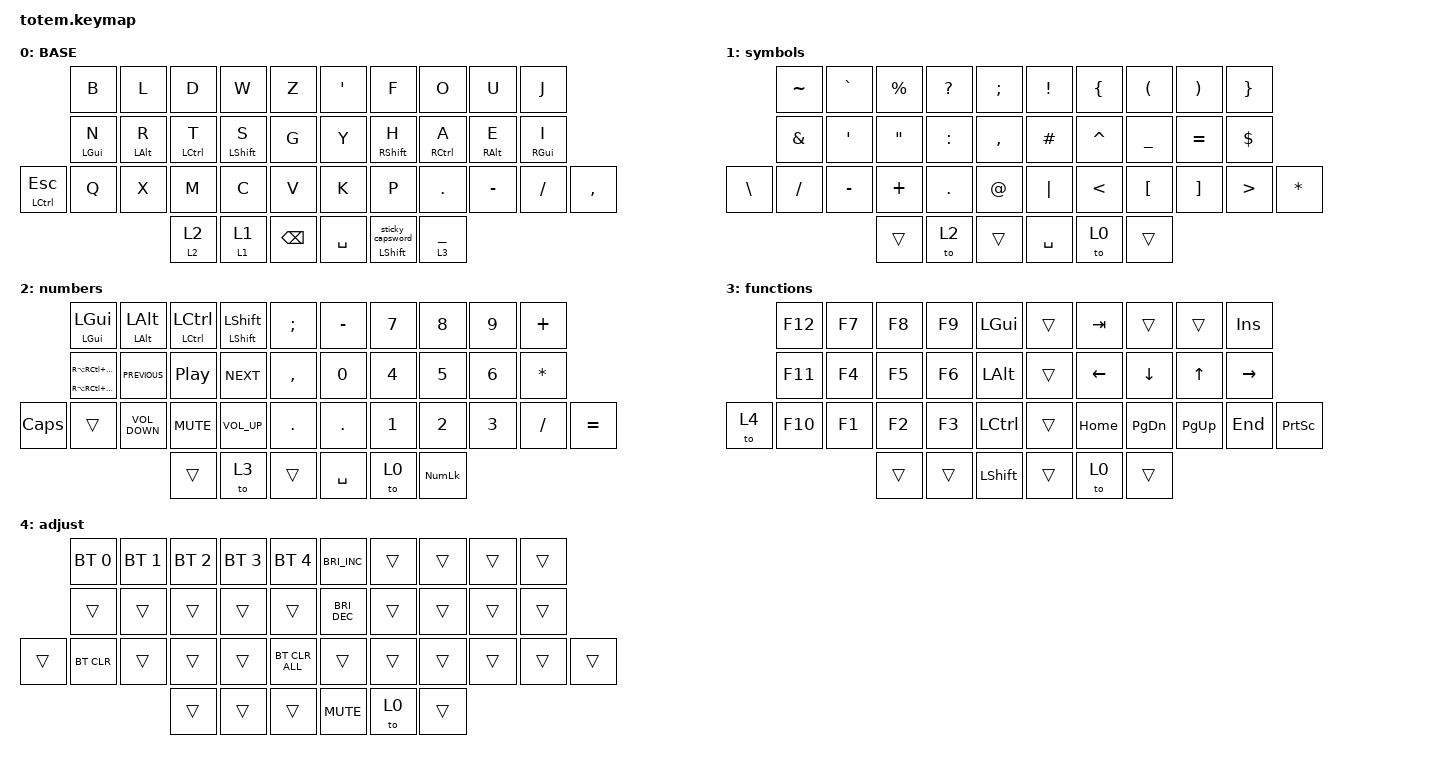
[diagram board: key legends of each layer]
//
//                                                        ▀▀▀▀▀     ▀▀▀▀▀          ▀▀█▀▀
//                                                        ▄▀▀▀▄  ▄  ▄▀▀▀▄  ▄  ▄▀▀▀▄  █  ▄▀▀▀▄
//                                                        █   █  █  █   █  █  █   █  █  █   █
//                                                         ▀▀▀   █   ▀▀▀   █   ▀▀▀   ▀   ▀▀▀
//                                                               █      ▄▄▄█▄▄▄    █   █  
//                                                               ▀      █  █  █     █▄█
//                                                             ▀▀▀▀▀    █  █  █      ▀
//                                                                      ▀  ▀  ▀
//
// ▄▄▄▄▄▄▄▄▄▄▄▄▄▄▄▄▄▄▄▄▄▄▄▄▄▄▄▄▄▄▄▄▄▄▄▄▄▄▄▄▄▄▄▄▄▄▄▄▄▄▄▄▄▄▄▄▄▄▄▄▄▄▄▄▄▄▄▄▄▄▄▄▄▄▄▄▄▄▄▄▄▄▄▄▄▄▄▄▄▄▄▄▄▄▄▄▄▄▄▄▄▄▄▄▄▄▄▄▄▄▄▄▄▄▄▄▄▄▄▄▄▄▄▄▄▄▄▄▄▄▄▄▄▄▄▄▄▄▄▄▄▄▄▄▄▄▄▄▄

#include <behaviors.dtsi>
#include <dt-bindings/zmk/bt.h>
#include <dt-bindings/zmk/keys.h>

#define BASE 0
#define NAV  1
#define SYM  2
#define ADJ  3
#define TVP1 4
#define TVP2 5

/ {
    combos {
        compatible = "zmk,combos";

        combo_enter {
            bindings = <&kp ENTER>;
            key-positions = <27 28>;
        };

        combo_delete {
            bindings = <&kp DELETE>;
            key-positions = <24 23>;
        };

        combo_tab {
            bindings = <&kp TAB>;
            key-positions = <1 0>;
        };

        combo_tilde {
            bindings = <&kp TILDE>;
            key-positions = <0 20>;
            layers = <0>;
        };

        combo_minus {
            bindings = <&kp MINUS>;
            key-positions = <30 29>;
            layers = <0>;
        };

        combo_semi {
            bindings = <&kp SEMICOLON>;
            key-positions = <9 8>;
            layers = <0>;
        };

        combo_bslsh {
            bindings = <&kp BACKSLASH>;
            key-positions = <31 9>;
            layers = <0>;
        };
    };

    behaviors {
        layer_hold: layer_hold {
            compatible = "zmk,behavior-hold-tap";
            label = "LAYER_HOLD";
            bindings = <&mo>, <&kp>;

            #binding-cells = <2>;
            tapping-term-ms = <100>;
            hold-while-undecided;
            retro-tap;
        };

        sticky_capsword: sticky_capsword {
            compatible = "zmk,behavior-tap-dance";
            label = "STICKY_CAPSWORD";
            #binding-cells = <0>;
            bindings = <&modified_sticky_shift LEFT_SHIFT>, <&caps_word>;

            tapping-term-ms = <200>;
        };

        super_shift: super_shift {
            compatible = "zmk,behavior-hold-tap";
            label = "SUPER_SHIFT";
            bindings = <&kp>, <&sticky_capsword>;

            #binding-cells = <2>;
            tapping-term-ms = <500>;
            quick-tap-ms = <200>;
            flavor = "tap-preferred";
            hold-while-undecided-linger;
            retro-tap;
        };

        super_symbols: super_symbols {
            compatible = "zmk,behavior-hold-tap";
            label = "SUPER_SYMBOLS";
            bindings = <&mo>, <&to>;

            #binding-cells = <2>;
            tapping-term-ms = <100>;
            hold-while-undecided;
            retro-tap;
        };

        super_numbers: super_numbers {
            compatible = "zmk,behavior-hold-tap";
            label = "SUPER_NUMBERS";
            bindings = <&mo>, <&sl>;

            #binding-cells = <2>;
            tapping-term-ms = <100>;
            hold-while-undecided;
            retro-tap;
        };

        homerow: homerow {
            compatible = "zmk,behavior-hold-tap";
            label = "HOMEROW";
            bindings = <&kp>, <&kp>;

            #binding-cells = <2>;
            tapping-term-ms = <200>;
            quick-tap-ms = <0>;
            flavor = "tap-preferred";
        };

        modified_sticky_shift: modified_sticky_shift {
            compatible = "zmk,behavior-sticky-key";
            label = "MODIFIED_STICKY_SHIFT";
            bindings = <&kp>;
            #binding-cells = <1>;
            release-after-ms = <300>;
            quick-release;
        };

        sticky_mods: sticky_mods {
            compatible = "zmk,behavior-sticky-key";
            label = "STICKY_MODS";
            bindings = <&kp>;
            #binding-cells = <1>;
            release-after-ms = <1000>;
            ignore-modifiers;
            lazy;
        };

        super_sticky_mods: super_sticky_mods {
            compatible = "zmk,behavior-hold-tap";
            label = "SUPER_STICKY_MODS";
            bindings = <&kp>, <&sticky_mods>;

            #binding-cells = <2>;
            tapping-term-ms = <150>;
            hold-while-undecided;
            retro-tap;
        };
    };

    keymap {
        compatible = "zmk,keymap";

        // ▄▄▄▄▄▄▄▄▄▄▄▄▄▄▄▄▄▄▄▄▄▄▄▄▄▄▄▄▄▄▄▄▄▄▄▄▄▄▄▄▄▄▄▄▄▄▄▄▄▄▄▄▄▄▄▄▄▄▄▄▄▄▄▄▄▄▄▄▄▄▄▄▄▄▄▄▄▄▄▄▄▄▄▄▄▄▄▄▄▄▄▄▄▄▄▄▄▄▄▄▄▄▄▄▄▄▄▄▄▄▄▄▄▄▄▄▄▄▄▄▄▄▄▄▄▄▄▄▄▄▄▄▄▄▄▄▄▄▄▄▄▄▄▄▄▄▄▄▄

        base_layer {
            // ┏━━━━━━━━━━━━━━━━━━━━━━━━━━━━━━━━━━━━━━━┓

            label = "BASE";

            // ┗━━━━━━━━━━━━━━━━━━━━━━━━━━━━━━━━━━━━━━━┛
            //             ┏━━━━━━━━━━━┳━━━━━━━━━━━┳━━━━━━━━━━━┳━━━━━━━━━━━┳━━━━━━━━━━━┓   ┏━━━━━━━━━━━┳━━━━━━━━━━━┳━━━━━━━━━━━┳━━━━━━━━━━━┳━━━━━━━━━━━┓
            //             ┃     Q     ┃     W     ┃     F     ┃     P     ┃     G     ┃   ┃     J     ┃     L     ┃     U     ┃     Y     ┃     ;     ┃
            //             ┣━━━━━━━━━━━╋━━━━━━━━━━━╋━━━━━━━━━━━╋━━━━━━━━━━━╋━━━━━━━━━━━┫   ┣━━━━━━━━━━━╋━━━━━━━━━━━╋━━━━━━━━━━━╋━━━━━━━━━━━╋━━━━━━━━━━━┫
            //             ┃     A     ┃     R     ┃     S     ┃     T     ┃     D     ┃   ┃     H     ┃     N     ┃     E     ┃     I     ┃     O     ┃
            // ┏━━━━━━━━━━━╋━━━━━━━━━━━╋━━━━━━━━━━━╋━━━━━━━━━━━╋━━━━━━━━━━━╋━━━━━━━━━━━┫   ┣━━━━━━━━━━━╋━━━━━━━━━━━╋━━━━━━━━━━━╋━━━━━━━━━━━╋━━━━━━━━━━━╋━━━━━━━━━━━┓
            // ┃     Q     ┃     Z     ┃     X     ┃     C     ┃     V     ┃     B     ┃   ┃     K     ┃     M     ┃     ,     ┃     .     ┃     /     ┃     \     ┃
            // ┗━━━━━━━━━━━┻━━━━━━━━━━━┻━━━━━━━━━━━╋━━━━━━━━━━━╋━━━━━━━━━━━╋━━━━━━━━━━━┫   ┣━━━━━━━━━━━╋━━━━━━━━━━━╋━━━━━━━━━━━╋━━━━━━━━━━━┻━━━━━━━━━━━┻━━━━━━━━━━━┛
            //                                     ┃    DEL    ┃    TAB    ┃    SPC    ┃   ┃   ENTER   ┃           ┃   BSPC    ┃
            //                                     ┗━━━━━━━━━━━┻━━━━━━━━━━━┻━━━━━━━━━━━┛   ┗━━━━━━━━━━━┻━━━━━━━━━━━┻━━━━━━━━━━━┛

            bindings = <
                         &kp B                &kp L                &kp D                    &kp W                  &kp Z            &kp SQT    &kp F                      &kp O                     &kp U                 &kp J
                         &homerow LEFT_GUI N  &homerow LEFT_ALT R  &homerow LEFT_CONTROL T  &homerow LEFT_SHIFT S  &kp G            &kp Y      &homerow RIGHT_SHIFT H     &homerow RIGHT_CONTROL A  &homerow RIGHT_ALT E  &homerow RIGHT_GUI I
&mt LEFT_CONTROL ESCAPE  &kp Q                &kp X                &kp M                    &kp C                  &kp V            &kp K      &kp P                      &kp DOT                   &kp MINUS             &kp FSLH              &kp COMMA
                                                                   &super_numbers 2 2       &super_symbols 1 1     &kp BACKSPACE    &kp SPACE  &super_shift LEFT_SHIFT 0  &layer_hold 3 UNDERSCORE
            >;
        };

        // ▄▄▄▄▄▄▄▄▄▄▄▄▄▄▄▄▄▄▄▄▄▄▄▄▄▄▄▄▄▄▄▄▄▄▄▄▄▄▄▄▄▄▄▄▄▄▄▄▄▄▄▄▄▄▄▄▄▄▄▄▄▄▄▄▄▄▄▄▄▄▄▄▄▄▄▄▄▄▄▄▄▄▄▄▄▄▄▄▄▄▄▄▄▄▄▄▄▄▄▄▄▄▄▄▄▄▄▄▄▄▄▄▄▄▄▄▄▄▄▄▄▄▄▄▄▄▄▄▄▄▄▄▄▄▄▄▄▄▄▄▄▄▄▄▄▄▄▄▄
        // ▄▄▄▄▄▄▄▄▄▄▄▄▄▄▄▄▄▄▄▄▄▄▄▄▄▄▄▄▄▄▄▄▄▄▄▄▄▄▄▄▄▄▄▄▄▄▄▄▄▄▄▄▄▄▄▄▄▄▄▄▄▄▄▄▄▄▄▄▄▄▄▄▄▄▄▄▄▄▄▄▄▄▄▄▄▄▄▄▄▄▄▄▄▄▄▄▄▄▄▄▄▄▄▄▄▄▄▄▄▄▄▄▄▄▄▄▄▄▄▄▄▄▄▄▄▄▄▄▄▄▄▄▄▄▄▄▄▄▄▄▄▄▄▄▄▄▄▄▄
        // ▄▄▄▄▄▄▄▄▄▄▄▄▄▄▄▄▄▄▄▄▄▄▄▄▄▄▄▄▄▄▄▄▄▄▄▄▄▄▄▄▄▄▄▄▄▄▄▄▄▄▄▄▄▄▄▄▄▄▄▄▄▄▄▄▄▄▄▄▄▄▄▄▄▄▄▄▄▄▄▄▄▄▄▄▄▄▄▄▄▄▄▄▄▄▄▄▄▄▄▄▄▄▄▄▄▄▄▄▄▄▄▄▄▄▄▄▄▄▄▄▄▄▄▄▄▄▄▄▄▄▄▄▄▄▄▄▄▄▄▄▄▄▄▄▄▄▄▄▄
        // ▄▄▄▄▄▄▄▄▄▄▄▄▄▄▄▄▄▄▄▄▄▄▄▄▄▄▄▄▄▄▄▄▄▄▄▄▄▄▄▄▄▄▄▄▄▄▄▄▄▄▄▄▄▄▄▄▄▄▄▄▄▄▄▄▄▄▄▄▄▄▄▄▄▄▄▄▄▄▄▄▄▄▄▄▄▄▄▄▄▄▄▄▄▄▄▄▄▄▄▄▄▄▄▄▄▄▄▄▄▄▄▄▄▄▄▄▄▄▄▄▄▄▄▄▄▄▄▄▄▄▄▄▄▄▄▄▄▄▄▄▄▄▄▄▄▄▄▄▄
        // ▄▄▄▄▄▄▄▄▄▄▄▄▄▄▄▄▄▄▄▄▄▄▄▄▄▄▄▄▄▄▄▄▄▄▄▄▄▄▄▄▄▄▄▄▄▄▄▄▄▄▄▄▄▄▄▄▄▄▄▄▄▄▄▄▄▄▄▄▄▄▄▄▄▄▄▄▄▄▄▄▄▄▄▄▄▄▄▄▄▄▄▄▄▄▄▄▄▄▄▄▄▄▄▄▄▄▄▄▄▄▄▄▄▄▄▄▄▄▄▄▄▄▄▄▄▄▄▄▄▄▄▄▄▄▄▄▄▄▄▄▄▄▄▄▄▄▄▄▄

        symbols {
            bindings = <
               &kp TILDE      &kp GRAVE       &kp PERCENT        &kp QUESTION  &kp SEMICOLON    &kp EXCLAMATION  &kp LEFT_BRACE  &kp LEFT_PARENTHESIS  &kp RIGHT_PARENTHESIS  &kp RIGHT_BRACE
               &kp AMPERSAND  &kp APOSTROPHE  &kp DOUBLE_QUOTES  &kp COLON     &kp COMMA        &kp HASH         &kp CARET       &kp UNDERSCORE        &kp EQUAL              &kp DOLLAR
&kp BACKSLASH  &kp SLASH      &kp MINUS       &kp PLUS           &kp PERIOD    &kp AT           &kp PIPE         &kp LESS_THAN   &kp LEFT_BRACKET      &kp RIGHT_BRACKET      &kp GREATER_THAN  &kp ASTERISK
                                              &trans             &to 2         &trans           &kp SPACE        &to 0           &trans
            >;
        };

        numbers {
            bindings = <
          &super_sticky_mods LEFT_GUI LEFT_GUI                                &super_sticky_mods LEFT_ALT LEFT_ALT  &super_sticky_mods LEFT_CONTROL LEFT_CONTROL  &super_sticky_mods LEFT_SHIFT LEFT_SHIFT  &kp SEMI      &kp MINUS  &kp N7  &kp N8          &kp N9  &kp PLUS
          &super_sticky_mods RA(RC(RG(RIGHT_SHIFT))) RA(RC(RG(RIGHT_SHIFT)))  &kp C_PREVIOUS                        &kp C_PLAY_PAUSE                              &kp C_NEXT                                &kp COMMA     &kp N0     &kp N4  &kp N5          &kp N6  &kp ASTERISK
&kp CAPS  &trans                                                              &kp C_VOLUME_DOWN                     &kp C_MUTE                                    &kp C_VOL_UP                              &kp PERIOD    &kp DOT    &kp N1  &kp N2          &kp N3  &kp SLASH     &kp EQUAL
                                                                                                                    &trans                                        &to 3                                     &trans        &kp SPACE  &to 0   &kp KP_NUMLOCK
            >;
        };

        functions {
            bindings = <
       &kp F12  &kp F7  &kp F8  &kp F9  &kp LGUI     &trans  &kp TAB         &trans          &trans        &kp INSERT
       &kp F11  &kp F4  &kp F5  &kp F6  &kp LALT     &trans  &kp LEFT_ARROW  &kp DOWN_ARROW  &kp UP_ARROW  &kp RIGHT_ARROW
&to 4  &kp F10  &kp F1  &kp F2  &kp F3  &kp LCTRL    &trans  &kp HOME        &kp PAGE_DOWN   &kp PAGE_UP   &kp END          &kp PRINTSCREEN
                        &trans  &trans  &kp LSHFT    &trans  &to 0           &trans
            >;
        };

        adjust {
            bindings = <
        &bt BT_SEL 0  &bt BT_SEL 1  &bt BT_SEL 2  &bt BT_SEL 3  &bt BT_SEL 4      &kp C_BRIGHTNESS_INC  &trans  &trans  &trans  &trans
        &trans        &trans        &trans        &trans        &trans            &kp C_BRIGHTNESS_DEC  &trans  &trans  &trans  &trans
&trans  &bt BT_CLR    &trans        &trans        &trans        &bt BT_CLR_ALL    &trans                &trans  &trans  &trans  &trans  &trans
                                    &trans        &trans        &trans            &kp C_MUTE            &to 0   &trans
            >;
        };
    };
};
